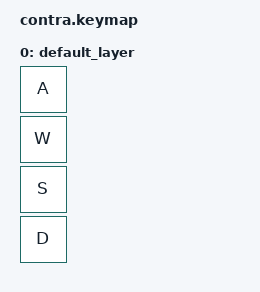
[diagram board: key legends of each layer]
#include <behaviors.dtsi>
#include <dt-bindings/zmk/keys.h>
#include <dt-bindings/zmk/bt.h>

#define DEFAULT  0

/ {
    keymap {
        compatible = "zmk,keymap";

        default_layer {
            bindings = <
                &kp A
                &kp W
                &kp S
                &kp D
            >;
        };
    };
};
